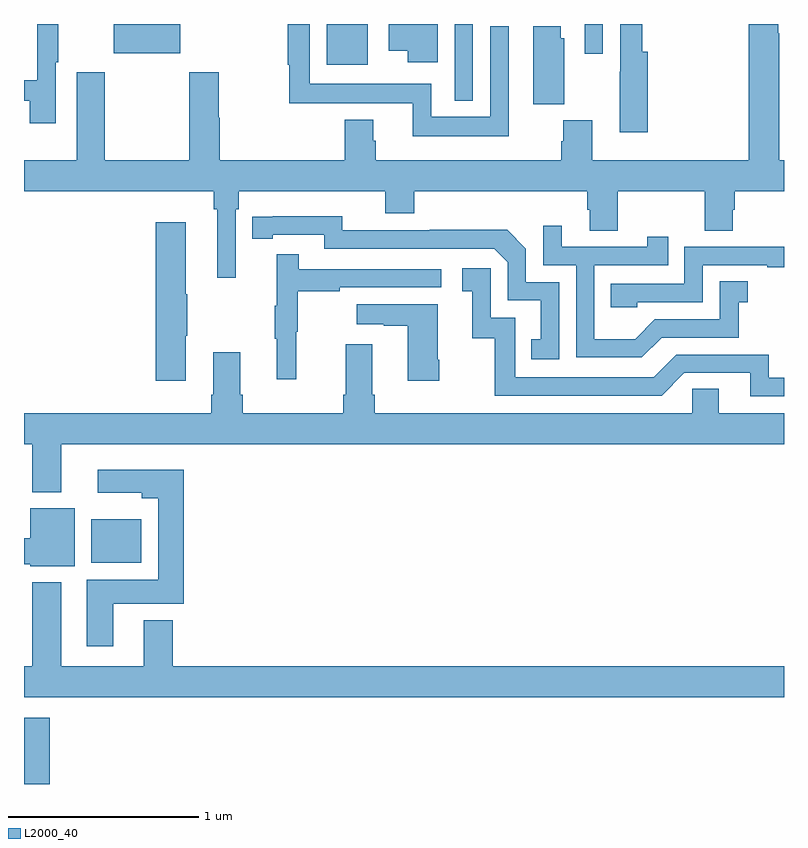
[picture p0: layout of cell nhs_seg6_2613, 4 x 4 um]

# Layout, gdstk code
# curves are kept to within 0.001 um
import gdstk
lib = gdstk.Library(unit=1e-6, precision=1e-09)
def R(c, l, rs):  # rectangles x0, y0, x1, y1
    for r in rs: c.add(gdstk.rectangle(r[:2], r[2:], *l))
def P(c, l, *ps):  # polygons
    for p in ps: c.add(gdstk.Polygon(p, *l))
L2000_40 = (2000, 40)

nhs_seg6_2613 = lib.new_cell('nhs_seg6_2613')
R(nhs_seg6_2613, L2000_40, [(265,993.5,265.136,993.85), (265.355,994.664,265.618,994.894), (267.267,997.097,267.363,997.5), (266.594,997.286,266.809,997.5), (267.951,997.344,268.047,997.5), (265.472,997.346,265.822,997.5)])
P(nhs_seg6_2613, L2000_40, [(267.55,997.489),(267.453,997.489),(267.453,997.012),(267.144,997.012),(267.144,997.186),(266.505,997.186),(266.505,997.5),(266.389,997.5),(266.389,997.286),(266.397,997.286),(266.397,997.082),(267.047,997.082),(267.047,996.908),(267.55,996.908)],
  [(265.167,997.3),(265.18,997.3),(265.18,997.5),(265.071,997.5),(265.071,997.203),(265,997.203),(265,997.095),(265.031,997.095),(265.031,996.978),(265.167,996.978)],
  [(267.178,997.5),(266.921,997.5),(266.921,997.358),(267.02,997.358),(267.02,997.299),(267.178,997.299)],
  [(268.283,997.354),(268.253,997.354),(268.253,997.5),(268.137,997.5),(268.137,997.25),(268.136,997.25),(268.136,996.93),(268.283,996.93)],
  [(266.115,996.524),(266.129,996.524),(266.129,996.62),(266.9,996.62),(266.9,996.503),(267.053,996.503),(267.053,996.62),(267.965,996.62),(267.965,996.522),(267.977,996.522),(267.977,996.412),(268.125,996.412),(268.125,996.62),(268.582,996.62),(268.582,996.412),(268.729,996.412),(268.729,996.522),(268.742,996.522),(268.742,996.62),(269,996.62),(269,996.784),(268.974,996.784),(268.974,997.451),(268.969,997.451),(268.969,997.5),(268.814,997.5),(268.814,996.784),(267.992,996.784),(267.992,996.993),(267.839,996.993),(267.839,996.884),(267.827,996.884),(267.827,996.784),(266.852,996.784),(266.852,996.885),(266.839,996.885),(266.839,996.997),(266.687,996.997),(266.687,996.784),(266.03,996.784),(266.03,997.007),(266.025,997.007),(266.025,997.246),(265.87,997.246),(265.87,996.784),(265.425,996.784),(265.425,997.246),(265.277,997.246),(265.277,996.784),(265,996.784),(265,996.62),(265.999,996.62),(265.999,996.524),(266.018,996.524),(266.018,996.165),(266.115,996.165)],
  [(267.844,997.425),(267.826,997.425),(267.826,997.489),(267.68,997.489),(267.68,997.078),(267.844,997.078)],
  [(267.816,996.141),(267.642,996.141),(267.642,996.318),(267.544,996.416),(267.136,996.416),(267.136,996.414),(266.676,996.414),(266.676,996.487),(266.2,996.486),(266.2,996.37),(266.308,996.37),(266.308,996.39),(266.58,996.39),(266.58,996.318),(267.474,996.318),(267.546,996.246),(267.546,996.045),(267.719,996.045),(267.719,995.841),(267.67,995.841),(267.67,995.736),(267.816,995.736)],
  [(265.852,995.86),(265.86,995.86),(265.86,996.077),(265.852,996.077),(265.852,996.457),(265.694,996.457),(265.694,995.622),(265.852,995.622)],
  [(268.357,995.85),(268.761,995.85),(268.761,996.035),(268.81,996.035),(268.81,996.145),(268.662,996.145),(268.662,995.946),(268.32,995.946),(268.216,995.842),(268.002,995.842),(268.002,996.231),(268.391,996.231),(268.391,996.379),(268.28,996.379),(268.28,996.327),(267.829,996.327),(267.829,996.439),(267.732,996.439),(267.732,996.231),(267.906,996.231),(267.906,995.745),(268.252,995.745)],
  [(268.227,996.036),(268.572,996.036),(268.572,996.231),(268.913,996.231),(268.913,996.219),(269,996.219),(269,996.327),(268.476,996.327),(268.476,996.132),(268.087,996.132),(268.087,996.009),(268.227,996.009)],
  [(266.432,995.88),(266.44,995.88),(266.44,996.094),(266.663,996.094),(266.663,996.114),(267.196,996.114),(267.196,996.21),(266.447,996.21),(266.447,996.289),(266.33,996.289),(266.33,996.017),(266.319,996.017),(266.319,995.843),(266.33,995.843),(266.33,995.631),(266.432,995.631)],
  [(269,995.637),(268.92,995.637),(268.92,995.76),(268.434,995.76),(268.314,995.64),(267.585,995.64),(267.585,995.955),(267.456,995.955),(267.456,996.214),(267.306,996.214),(267.306,996.093),(267.359,996.093),(267.359,995.847),(267.477,995.847),(267.477,995.544),(268.356,995.544),(268.476,995.664),(268.823,995.664),(268.823,995.541),(269,995.541)],
  [(267.186,995.734),(267.178,995.734),(267.178,996.025),(266.751,996.025),(266.751,995.921),(266.894,995.921),(266.894,995.911),(267.02,995.911),(267.02,995.622),(267.186,995.622)],
  [(269,995.452),(268.657,995.452),(268.657,995.579),(268.518,995.579),(268.518,995.452),(266.846,995.452),(266.846,995.548),(266.833,995.548),(266.833,995.815),(266.693,995.815),(266.693,995.548),(266.681,995.548),(266.681,995.452),(266.15,995.452),(266.15,995.548),(266.137,995.548),(266.137,995.773),(265.997,995.773),(265.997,995.548),(265.985,995.548),(265.985,995.452),(265,995.452),(265,995.288),(265.043,995.288),(265.043,995.036),(265.195,995.036),(265.195,995.288),(269,995.288)],
  [(265.471,994.448),(265.841,994.448),(265.841,995.155),(265.389,995.155),(265.389,995.033),(265.619,995.033),(265.619,995.003),(265.706,995.003),(265.706,994.576),(265.331,994.576),(265.331,994.224),(265.471,994.224)],
  [(265.267,994.951),(265.034,994.951),(265.034,994.793),(265,994.793),(265,994.657),(265.034,994.657),(265.034,994.646),(265.267,994.646)],
  [(269,994.12),(265.784,994.12),(265.784,994.363),(265.631,994.363),(265.631,994.12),(265.195,994.12),(265.195,994.561),(265.043,994.561),(265.043,994.12),(265,994.12),(265,993.956),(269,993.956)])

lib.write_gds('nhs_seg6_2613.gds')
